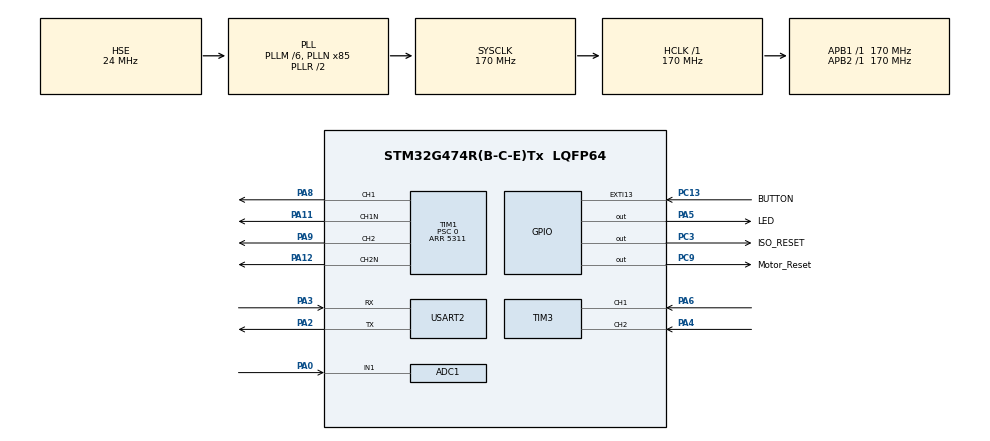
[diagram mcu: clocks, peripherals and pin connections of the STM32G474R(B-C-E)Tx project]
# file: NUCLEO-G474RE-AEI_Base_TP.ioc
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ADC1.Channel-0\#ChannelRegularConversion=ADC_CHANNEL_1
ADC1.ContinuousConvMode=ENABLE
ADC1.DMAContinuousRequests=ENABLE
ADC1.ExternalTrigConv=ADC_EXTERNALTRIG_T2_TRGO
ADC1.NbrOfConversion=1
ADC1.NbrOfConversionFlag=1
ADC1.OffsetNumber-0\#ChannelRegularConversion=ADC_OFFSET_NONE
ADC1.Rank-0\#ChannelRegularConversion=1
ADC1.SamplingTime-0\#ChannelRegularConversion=ADC_SAMPLETIME_2CYCLES_5
ADC1.master=1
Dma.ADC1.0.Direction=DMA_PERIPH_TO_MEMORY
Dma.ADC1.0.EventEnable=DISABLE
Dma.ADC1.0.Instance=DMA1_Channel1
Dma.ADC1.0.MemDataAlignment=DMA_MDATAALIGN_HALFWORD
Dma.ADC1.0.MemInc=DMA_MINC_ENABLE
Dma.ADC1.0.Mode=DMA_CIRCULAR
Dma.ADC1.0.PeriphDataAlignment=DMA_PDATAALIGN_HALFWORD
Dma.ADC1.0.PeriphInc=DMA_PINC_DISABLE
Dma.ADC1.0.Polarity=HAL_DMAMUX_REQ_GEN_RISING
Dma.ADC1.0.Priority=DMA_PRIORITY_LOW
Dma.ADC1.0.RequestNumber=1
Dma.ADC1.0.SignalID=NONE
Dma.ADC1.0.SyncEnable=DISABLE
Dma.ADC1.0.SyncPolarity=HAL_DMAMUX_SYNC_NO_EVENT
Dma.ADC1.0.SyncRequestNumber=1
Dma.ADC1.0.SyncSignalID=NONE
Dma.Request0=ADC1
Mcu.Family=STM32G4
Mcu.Name=STM32G474R(B-C-E)Tx
Mcu.Package=LQFP64
NVIC.ADC1_2_IRQn=true\:0\:0\:false\:false\:true\:true\:true\:true
NVIC.DMA1_Channel1_IRQn=true\:0\:0\:false\:false\:true\:false\:true\:true
NVIC.EXTI15_10_IRQn=true\:0\:0\:false\:false\:true\:true\:true\:true
NVIC.PriorityGroup=NVIC_PRIORITYGROUP_4
NVIC.TIM2_IRQn=true\:0\:0\:false\:false\:true\:true\:true\:true
NVIC.TIM4_IRQn=true\:0\:0\:false\:false\:true\:true\:true\:true
NVIC.TIM6_DAC_IRQn=true\:15\:0\:false\:false\:true\:false\:true\:true
NVIC.TimeBase=TIM6_DAC_IRQn
NVIC.TimeBaseIP=TIM6
NVIC.USART2_IRQn=true\:0\:0\:false\:false\:true\:true\:true\:true
PA0.Mode=IN1-Single-Ended
PA0.Signal=ADC1_IN1
PA11.Mode=PWM Generation1 CH1 CH1N
PA11.Signal=TIM1_CH1N
PA12.Mode=PWM Generation2 CH2 CH2N
PA12.Signal=TIM1_CH2N
PA13.GPIO_Label=T_SWDIO
PA13.Mode=Serial_Wire
PA13.Signal=SYS_JTMS-SWDIO
PA14.GPIO_Label=T_SWCLK
PA14.Mode=Serial_Wire
PA14.Signal=SYS_JTCK-SWCLK
PA2.Mode=Asynchronous
PA2.Signal=USART2_TX
PA3.Mode=Asynchronous
PA3.Signal=USART2_RX
PA4.Signal=S_TIM3_CH2
PA5.GPIO_Label=LED
PA5.Signal=GPIO_Output
PA6.Signal=S_TIM3_CH1
PA8.Signal=S_TIM1_CH1
PA9.Signal=S_TIM1_CH2
PC13.GPIO_Label=BUTTON
PC13.GPIO_ModeDefaultEXTI=GPIO_MODE_IT_FALLING
PC13.Signal=GPXTI13
PC14-OSC32_IN.Mode=LSE-External-Oscillator
PC14-OSC32_IN.Signal=RCC_OSC32_IN
PC15-OSC32_OUT.Mode=LSE-External-Oscillator
PC15-OSC32_OUT.Signal=RCC_OSC32_OUT
PC3.GPIO_Label=ISO_RESET
PC3.Signal=GPIO_Output
PC9.GPIO_Label=Motor_Reset
PC9.Signal=GPIO_Output
PF0-OSC_IN.Mode=HSE-External-Oscillator
PF0-OSC_IN.Signal=RCC_OSC_IN
PF1-OSC_OUT.Mode=HSE-External-Oscillator
PF1-OSC_OUT.Signal=RCC_OSC_OUT
ProjectManager.HeapSize=0x200
ProjectManager.StackSize=0x400
ProjectManager.TargetToolchain=STM32CubeIDE
RCC.ADC12Freq_Value=170000000
RCC.ADC345Freq_Value=170000000
RCC.AHBFreq_Value=170000000
RCC.APB1Freq_Value=170000000
RCC.APB1TimFreq_Value=170000000
RCC.APB2Freq_Value=170000000
RCC.APB2TimFreq_Value=170000000
RCC.CortexFreq_Value=170000000
RCC.EXTERNAL_CLOCK_VALUE=12288000
RCC.HCLKFreq_Value=170000000
RCC.HSE_VALUE=24000000
RCC.HSI48_VALUE=48000000
RCC.HSI_VALUE=16000000
RCC.PLLM=RCC_PLLM_DIV6
RCC.PLLN=85
RCC.PLLSourceVirtual=RCC_PLLSOURCE_HSE
RCC.RTCClockSelection=RCC_RTCCLKSOURCE_LSE
RCC.SYSCLKFreq_VALUE=170000000
RCC.SYSCLKSource=RCC_SYSCLKSOURCE_PLLCLK
RCC.USBFreq_Value=170000000
RCC.VCOOutputFreq_Value=340000000
SH.S_TIM1_CH1.0=TIM1_CH1,PWM Generation1 CH1 CH1N
SH.S_TIM1_CH2.0=TIM1_CH2,PWM Generation2 CH2 CH2N
SH.S_TIM3_CH1.0=TIM3_CH1,Encoder_Interface
SH.S_TIM3_CH2.0=TIM3_CH2,Encoder_Interface
TIM1.AutoReloadPreload=TIM_AUTORELOAD_PRELOAD_ENABLE
TIM1.Channel-PWM\ Generation1\ CH1\ CH1N=TIM_CHANNEL_1
TIM1.Channel-PWM\ Generation2\ CH2\ CH2N=TIM_CHANNEL_2
TIM1.CounterMode=TIM_COUNTERMODE_CENTERALIGNED1
TIM1.DeadTime=203
TIM1.PeriodNoDither=5311
TIM1.Prescaler=0
TIM1.PulseNoDither_1=2656
TIM1.PulseNoDither_2=2656
TIM2.AutoReloadPreload=TIM_AUTORELOAD_PRELOAD_ENABLE
TIM2.PeriodNoDither=1062
TIM2.TIM_MasterOutputTrigger=TIM_TRGO_UPDATE
TIM2.TIM_MasterSlaveMode=TIM_MASTERSLAVEMODE_DISABLE
TIM3.EncoderMode=TIM_ENCODERMODE_TI12
TIM4.AutoReloadPreload=TIM_AUTORELOAD_PRELOAD_ENABLE
TIM4.PeriodNoDither=10000-1
TIM4.Prescaler=1700-1
TIM4.TIM_MasterOutputTrigger=TIM_TRGO_UPDATE
USART2.VirtualMode-Asynchronous=VM_ASYNC
VP_SYS_VS_DBSignals.Mode=DisableDeadBatterySignals
VP_SYS_VS_tim6.Mode=TIM6
VP_TIM1_VS_ClockSourceINT.Mode=Internal
VP_TIM2_VS_ClockSourceINT.Mode=Internal
VP_TIM4_VS_ClockSourceINT.Mode=Internal
board=NUCLEO-G474RE

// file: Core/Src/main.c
/* USER CODE BEGIN Header */
/**
 ******************************************************************************
 * @file           : main.c
 * @brief          : Main program body
 ******************************************************************************
 * @attention
 *
 * Copyright (c) 2022 STMicroelectronics.
 * All rights reserved.
 *
 * This software is licensed under terms that can be found in the LICENSE file
 * in the root directory of this software component.
 * If no LICENSE file comes with this software, it is provided AS-IS.
 *
 ******************************************************************************
 */
/* USER CODE END Header */
#include "main.h"
#include "adc.h"
#include "dma.h"
#include "tim.h"
#include "usart.h"
#include "gpio.h"

/* USER CODE BEGIN Includes */
#include <stdio.h>
#include <stdlib.h>
#include <string.h>
#include "shell.h"
#include "motor.h"

/* USER CODE END Includes */

/* USER CODE BEGIN PD */
#define ADC_Buffer_size 10
/* USER CODE END PD */

/* USER CODE BEGIN PV */

extern uint8_t uartRxReceived;
extern uint8_t uartRxBuffer[UART_RX_BUFFER_SIZE];
extern uint8_t uartTxBuffer[UART_TX_BUFFER_SIZE];
uint16_t ADC_buffer[ADC_Buffer_size];
uint16_t current_value_buffer[100];
uint16_t ohmega_buffer[100];

uint8_t Button_flag=0;				//flag du Blue_button qui initialise les PWM
uint8_t ADC_flag =0;				//Mise du flag=1 par le DMA lorsque l'ADC  fait ADC_Buffer_size conversions
uint8_t TIMER_4_flag=0;				//flag de callbak du timer4
uint16_t cnt_tim_3_value=32767;		//valeur de départ du compteur du timer. On remet timer3->CNT a cette valeur après chaque call back du timer4
float omega=0;						//valeur de vitesse en tr/min

int raw_value=0;					//valeur brut de la mesure de courant en sortie d'ADC
float current_value;				//valeur du courant réel en A

//_________Variables pour la boucle de vitesse__________
float omreq=0.0;					//consigne de vitesse en tr/min
float epsilon_s=0;					//erreur=omreq-omega
float Kps=0.01;					//gain du proportionnel vitesse (speed)
float Kis=0.03;						//gain de l'intégrateur vitesse (speed)
float Tes=1/10.0;					//période de 16KHz
float current1=0;				//erreur affecté du correcteur proportionel (epsilon_s*kps)
float current2=0.0;					//erreur affecté du correcteur integral (epsilon_s*Kis/p)
float SL_buffer[3]={0.0,0.0,0.0};	//Speed_loop buffer: le tableau contenant les valeurs presentes et précédantes des valeurs d'alpha et d'epsilon = [epsilon_s[n-1],epsilon_s[n],current2[n-1])
uint8_t SL_flag=0;					//flag pour la boucle de vitesse: Speed loop flag

//_________Variables pour la boucle de courant_________
float Ireq=0.0;						//consigne de courant (=current1+current2, erreur corrigée de la boule de vitesse)
float epsilon=0;					//erreur (=Ireq-current_value)
float Kp=0.00001;					//gain de proportionnel courant
float Ki=400;						//gain de l'itégrateur courant
float Te=1/16000.0;					//période de 16KHz
uint16_t alpha1=0;					//erreur affecté du correcteur proportionel (epsilon*k)
float alpha2=50.0;					//erreur affecté du correcteur integral (epsilon*Ki/p)
uint16_t alpha3=0;					//consigne de rapport cyclique (=alpha1+alpha2)
float CL_buffer[3]={0.0,0.0,50.0};	//le tableau contenant les valeurs presentes et précédantes des valeurs d'alpha et d'epsilon = [epsilon[n-1],epsilon[n],alpha2[n-1])
uint8_t CL_flag=0;					//flag pour la boucle de courant: Current loop flag

/* USER CODE END PV */

void SystemClock_Config(void);

int main(void)
{

  /* MCU Configuration--------------------------------------------------------*/

  /* Reset of all peripherals, Initializes the Flash interface and the Systick. */
  HAL_Init();

  /* Configure the system clock */
  SystemClock_Config();

  /* Initialize all configured peripherals */
  MX_GPIO_Init();
  MX_DMA_Init();
  MX_TIM1_Init();
  MX_USART2_UART_Init();
  MX_ADC1_Init();
  MX_TIM2_Init();
  MX_TIM4_Init();
  MX_TIM3_Init();
  /* USER CODE BEGIN 2 */
	HAL_UART_Receive_IT(&huart2, uartRxBuffer, UART_RX_BUFFER_SIZE);
	HAL_Delay(1);
	shellInit();
	htim3.Instance->CNT=32767;

	//On effectue une calibration
	if (HAL_OK!= HAL_ADCEx_Calibration_Start(&hadc1, ADC_SINGLE_ENDED))
		Error_Handler();

	//On start le timer qui débute les convertions par interruption
	if (HAL_OK!=HAL_TIM_Base_Start(&htim2))
		Error_Handler();
	//on start le DMA
	if (HAL_OK!= HAL_ADC_Start_DMA(&hadc1,ADC_buffer,ADC_Buffer_size))
		Error_Handler();
	//On start les timers 4
	if (HAL_OK!=HAL_TIM_Base_Start_IT(&htim4))
		Error_Handler();
	if (HAL_OK!=HAL_TIM_Encoder_Start(&htim3,TIM_CHANNEL_ALL))
			Error_Handler();

  /* USER CODE END 2 */

  /* Infinite loop */
  /* USER CODE BEGIN WHILE */
	while (1)
	{
		// SuperLoop inside the while(1), only flag changed from interrupt could launch functions
		if(uartRxReceived){
			if(shellGetChar()){
				shellExec();
				shellPrompt();
			}
			uartRxReceived = 0;
		}
		if (Button_flag){
			motorPowerOn();
			Button_flag=0;
		}

		if(ADC_flag==1){
			//Verification tous les 1/(16kHz)

			//Additonner les 10 valeurs acquises dans raw_value
			raw_value=0;
			for (int i=0;i<ADC_Buffer_size;i++){
				raw_value+=ADC_buffer[i];
			}

			current_value=((raw_value/ADC_Buffer_size)*3.3/4095.0-2.5)*12.0;	//convertion en la valeur moyenne de courant réel

			/**
			//affichage dans l'uart de cette valeur
			sprintf(current_value_buffer,"{ADC Value : %1.2f}\r\n",current_value);
			HAL_UART_Transmit(&huart2, current_value_buffer,strlen((char*) current_value_buffer)*sizeof(char), HAL_MAX_DELAY);
			**/

			//---------------------ASSERVISSEMENT EN COURANT---------------------------------

			//condition d'entré pour la boucle de courrant (asservissement à 16kHz)
			if (CL_flag){
			epsilon=Ireq-current_value;										//calcul de l'erreur

			CL_buffer[1]=epsilon;											//écriture de la nouvelle valeur d'erreur

			alpha1=(uint16_t) (Kp*epsilon);									//erreur corrigée du proportionnel
			alpha2=CL_buffer[2]+(Ki*Te/2.0)*(CL_buffer[1]+CL_buffer[0]);	//erreur corrigée de l'intégral
			alpha2=verif_alpha_float(alpha2);								//Antiwindup du correcteur PI de courant
			alpha3=alpha2+alpha1;											//Erreur corrigée final
			alpha3=verif_alpha(alpha3);										//Saturation de l'erreur

			CL_buffer[0]=CL_buffer[1]; 										//epsilon[n-1]=epsilon[n]
			CL_buffer[2]=alpha2; 											//alpha2[n-1]=alpha2
			motorSetAlpha(alpha3);											//nouvelle consigne de rapport cyclique
			}

			ADC_flag=0;														//réinitialisation du flag
			}

		if (TIMER_4_flag){

			omega=(cnt_tim_3_value-32767.0)/(0.1*4096.0)*60;	//valeur de vitesse en tour/min

			 //(Ecrire dans l'UART la valeur de vitesse retournée)
			 //sprintf(ohmega_buffer,"{Vitesse : %1.2f tour/min}\r\n",omega);
			 //HAL_UART_Transmit(&huart2, ohmega_buffer,strlen((char*) ohmega_buffer)*sizeof(char), HAL_MAX_DELAY);

			//________________________ASSERVISSEMENT EN VITESSE___________________________

			//condition d'entré pour la boucle de vitesse (asservissement à 10Hz)
			if (SL_flag){
				epsilon_s=omreq-omega;												//calcul de l'erreur

				SL_buffer[1]=epsilon_s;												//écriture de la nouvelle valeur d'erreur

				current1=(Kps*epsilon_s);
				current2=SL_buffer[2]+(Kis*Tes/2.0)*(SL_buffer[1]+SL_buffer[0]);
				current2=verif_current_float(current2);								//antiwindup du correcteur PI de vitesse
				Ireq=current1+current2;												//consigne de courrant pour la boucle de courant
				Ireq=verif_current(Ireq);											//Saturation:vérifi que la valeur de courant soit compris enre -8A et 8A

				SL_buffer[0]=SL_buffer[1]; 											//epsilon_s[n-1]=epsilon_s[n]
				SL_buffer[2]=current2; 												//current2[n-1]=current2[n]
			}

			TIMER_4_flag=0;
		}

    /* USER CODE END WHILE */

	}
}

void SystemClock_Config(void)
{
  RCC_OscInitTypeDef RCC_OscInitStruct = {0};
  RCC_ClkInitTypeDef RCC_ClkInitStruct = {0};

  /** Configure the main internal regulator output voltage
  */
  HAL_PWREx_ControlVoltageScaling(PWR_REGULATOR_VOLTAGE_SCALE1_BOOST);

  /** Initializes the RCC Oscillators according to the specified parameters
  * in the RCC_OscInitTypeDef structure.
  */
  RCC_OscInitStruct.OscillatorType = RCC_OSCILLATORTYPE_HSE;
  RCC_OscInitStruct.HSEState = RCC_HSE_ON;
  RCC_OscInitStruct.PLL.PLLState = RCC_PLL_ON;
  RCC_OscInitStruct.PLL.PLLSource = RCC_PLLSOURCE_HSE;
  RCC_OscInitStruct.PLL.PLLM = RCC_PLLM_DIV6;
  RCC_OscInitStruct.PLL.PLLN = 85;
  RCC_OscInitStruct.PLL.PLLP = RCC_PLLP_DIV2;
  RCC_OscInitStruct.PLL.PLLQ = RCC_PLLQ_DIV2;
  RCC_OscInitStruct.PLL.PLLR = RCC_PLLR_DIV2;
  if (HAL_RCC_OscConfig(&RCC_OscInitStruct) != HAL_OK)
  {
    Error_Handler();
  }

  /** Initializes the CPU, AHB and APB buses clocks
  */
  RCC_ClkInitStruct.ClockType = RCC_CLOCKTYPE_HCLK|RCC_CLOCKTYPE_SYSCLK
                              |RCC_CLOCKTYPE_PCLK1|RCC_CLOCKTYPE_PCLK2;
  RCC_ClkInitStruct.SYSCLKSource = RCC_SYSCLKSOURCE_PLLCLK;
  RCC_ClkInitStruct.AHBCLKDivider = RCC_SYSCLK_DIV1;
  RCC_ClkInitStruct.APB1CLKDivider = RCC_HCLK_DIV1;
  RCC_ClkInitStruct.APB2CLKDivider = RCC_HCLK_DIV1;

  if (HAL_RCC_ClockConfig(&RCC_ClkInitStruct, FLASH_LATENCY_4) != HAL_OK)
  {
    Error_Handler();
  }
}

/* USER CODE BEGIN 4 */
//la fonction de callback qui met un flag a 1 pour dire qu'il y a eu un appuie sur le Blue Button
void HAL_GPIO_EXTI_Callback(uint16_t GPIO_Pin){
	Button_flag=1;
}

//une fois que mon buffer est plein, on appel cette fonction qui set le ADC_flag a 1
void HAL_ADC_ConvCpltCallback(ADC_HandleTypeDef *hadc)
{
	ADC_flag=1;
}
/* USER CODE END 4 */

void HAL_TIM_PeriodElapsedCallback(TIM_HandleTypeDef *htim)
{
	if (htim->Instance == TIM6) {
		HAL_IncTick();
	}
	/* USER CODE BEGIN Callback 1 */

	//____________CALLBACK du TIMER 4_______________
	//Le timer4 cadencé a 10Hz pour la vitesse
	if (htim->Instance == TIM4) {					//fin de comptage pour le TIM4
		cnt_tim_3_value=htim3.Instance->CNT;		//sauvegarde de la valeur du compteur du TIM3
		htim3.Instance->CNT=32767;					//ré initialisation de la valeur du compteur à 32767
		TIMER_4_flag=1;								//flag permetant les calcul de convertion de la vitesse et boucle de vitesse
	}

	/* USER CODE END Callback 1 */
}

void Error_Handler(void)
{
	__disable_irq();
	while (1)
	{
	}
}
